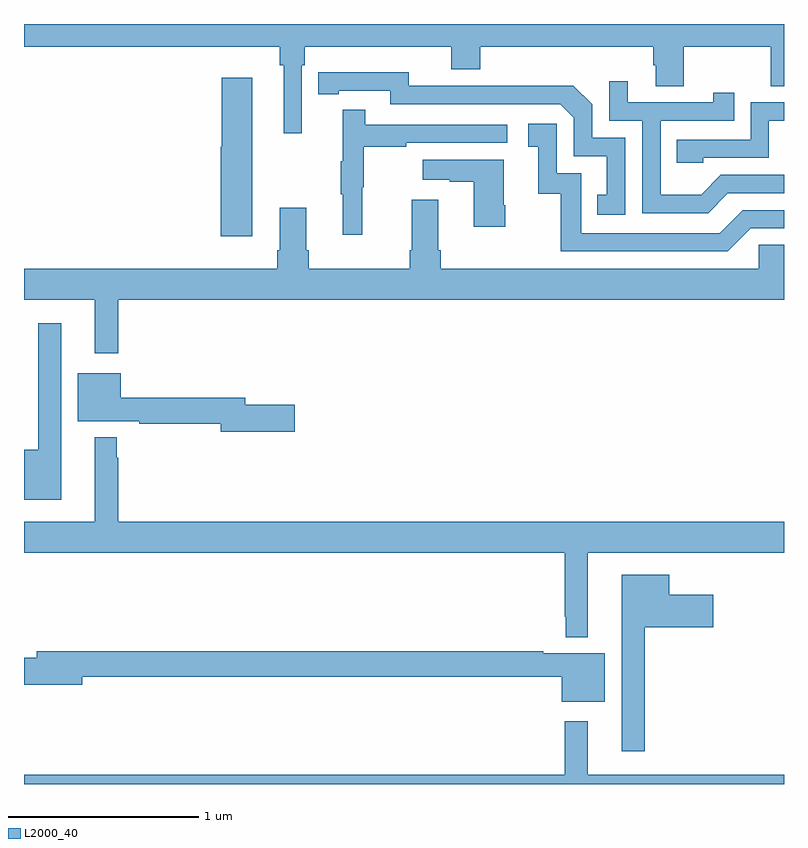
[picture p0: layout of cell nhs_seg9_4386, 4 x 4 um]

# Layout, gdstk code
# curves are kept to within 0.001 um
import gdstk
lib = gdstk.Library(unit=1e-6, precision=1e-09)
def P(c, l, *ps):  # polygons
    for p in ps: c.add(gdstk.Polygon(p, *l))
L2000_40 = (2000, 40)

nhs_seg9_4386 = lib.new_cell('nhs_seg9_4386')
P(nhs_seg9_4386, L2000_40, [(362.463,1236.284),(362.477,1236.284),(362.477,1236.38),(363.248,1236.38),(363.248,1236.263),(363.401,1236.263),(363.401,1236.38),(364.313,1236.38),(364.313,1236.282),(364.325,1236.282),(364.325,1236.172),(364.473,1236.172),(364.473,1236.38),(364.93,1236.38),(364.93,1236.172),(365,1236.172),(365,1236.5),(361,1236.5),(361,1236.38),(362.347,1236.38),(362.347,1236.284),(362.366,1236.284),(362.366,1235.925),(362.463,1235.925)],
  [(364.164,1235.901),(363.99,1235.901),(363.99,1236.078),(363.892,1236.176),(363.484,1236.176),(363.484,1236.174),(363.024,1236.174),(363.024,1236.247),(362.548,1236.246),(362.548,1236.13),(362.656,1236.13),(362.656,1236.15),(362.928,1236.15),(362.928,1236.078),(363.822,1236.078),(363.894,1236.006),(363.894,1235.805),(364.067,1235.805),(364.067,1235.601),(364.018,1235.601),(364.018,1235.496),(364.164,1235.496)],
  [(362.2,1236.217),(362.042,1236.217),(362.042,1235.853),(362.036,1235.853),(362.036,1235.382),(362.2,1235.382)],
  [(364.705,1235.61),(365,1235.61),(365,1235.706),(364.668,1235.706),(364.564,1235.602),(364.35,1235.602),(364.35,1235.991),(364.739,1235.991),(364.739,1236.139),(364.628,1236.139),(364.628,1236.087),(364.177,1236.087),(364.177,1236.199),(364.08,1236.199),(364.08,1235.991),(364.254,1235.991),(364.254,1235.505),(364.6,1235.505)],
  [(364.575,1235.796),(364.92,1235.796),(364.92,1235.991),(365,1235.991),(365,1236.087),(364.824,1236.087),(364.824,1235.892),(364.435,1235.892),(364.435,1235.769),(364.575,1235.769)],
  [(362.78,1235.64),(362.788,1235.64),(362.788,1235.854),(363.011,1235.854),(363.011,1235.874),(363.544,1235.874),(363.544,1235.97),(362.795,1235.97),(362.795,1236.049),(362.678,1236.049),(362.678,1235.777),(362.667,1235.777),(362.667,1235.603),(362.678,1235.603),(362.678,1235.391),(362.78,1235.391)],
  [(364.824,1235.424),(365,1235.424),(365,1235.52),(364.782,1235.52),(364.662,1235.4),(363.933,1235.4),(363.933,1235.715),(363.804,1235.715),(363.804,1235.974),(363.654,1235.974),(363.654,1235.853),(363.707,1235.853),(363.707,1235.607),(363.825,1235.607),(363.825,1235.304),(364.704,1235.304)],
  [(363.534,1235.545),(363.526,1235.545),(363.526,1235.785),(363.099,1235.785),(363.099,1235.681),(363.242,1235.681),(363.242,1235.671),(363.368,1235.671),(363.368,1235.433),(363.534,1235.433)],
  [(361.495,1235.048),(365,1235.048),(365,1235.339),(364.866,1235.339),(364.866,1235.212),(363.194,1235.212),(363.194,1235.308),(363.181,1235.308),(363.181,1235.575),(363.041,1235.575),(363.041,1235.308),(363.029,1235.308),(363.029,1235.212),(362.498,1235.212),(362.498,1235.308),(362.485,1235.308),(362.485,1235.533),(362.345,1235.533),(362.345,1235.308),(362.333,1235.308),(362.333,1235.212),(361,1235.212),(361,1235.048),(361.373,1235.048),(361.373,1234.767),(361.495,1234.767)],
  [(361.195,1234.924),(361.074,1234.924),(361.074,1234.258),(361,1234.258),(361,1233.995),(361.195,1233.995)],
  [(362.425,1234.496),(362.164,1234.496),(362.164,1234.532),(361.51,1234.532),(361.51,1234.663),(361.283,1234.663),(361.283,1234.409),(361.606,1234.409),(361.606,1234.396),(362.036,1234.396),(362.036,1234.354),(362.425,1234.354)],
  [(363.967,1233.716),(365,1233.716),(365,1233.88),(361.495,1233.88),(361.495,1234.217),(361.488,1234.217),(361.488,1234.324),(361.373,1234.324),(361.373,1233.88),(361,1233.88),(361,1233.716),(363.846,1233.716),(363.846,1233.379),(363.852,1233.379),(363.852,1233.272),(363.967,1233.272)],
  [(364.267,1233.326),(364.627,1233.326),(364.627,1233.496),(364.396,1233.496),(364.396,1233.601),(364.145,1233.601),(364.145,1232.673),(364.267,1232.673)],
  [(364.057,1233.187),(363.734,1233.187),(363.734,1233.2),(361.067,1233.2),(361.067,1233.164),(361,1233.164),(361,1233.022),(361.306,1233.022),(361.306,1233.064),(363.83,1233.064),(363.83,1232.933),(364.057,1232.933)],
  [(365,1232.548),(363.967,1232.548),(363.967,1232.83),(363.846,1232.83),(363.846,1232.548),(361,1232.548),(361,1232.5),(365,1232.5)])

lib.write_gds('nhs_seg9_4386.gds')
